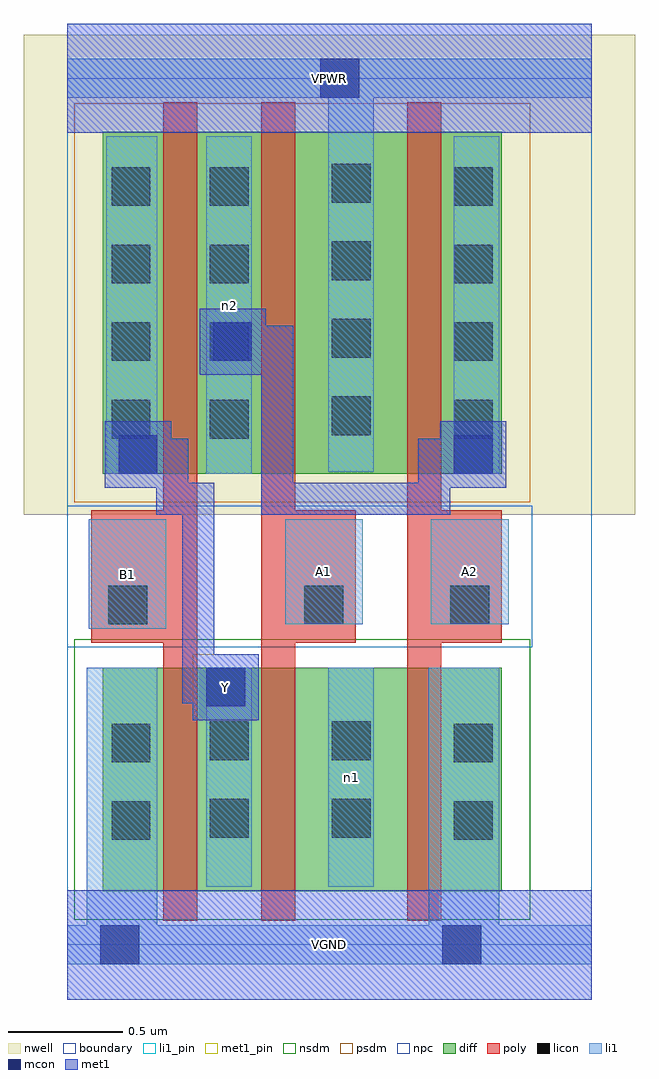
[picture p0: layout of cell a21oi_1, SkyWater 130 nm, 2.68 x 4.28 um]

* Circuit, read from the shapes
.subckt a21oi_1 A1 A2 B1 VGND VPWR Y n1 n2
XM1 Y B1 VGND VSUBS sky130_fd_pr__nfet_01v8 w=0.98 l=0.15
XM2 n1 A1 Y VSUBS sky130_fd_pr__nfet_01v8 w=0.98 l=0.15
XM3 VGND A2 n1 VSUBS sky130_fd_pr__nfet_01v8 w=0.98 l=0.15
XM4 n2 B1 Y n3 sky130_fd_pr__pfet_01v8 w=1.5 l=0.15
XM5 VPWR A1 n2 n3 sky130_fd_pr__pfet_01v8 w=1.5 l=0.15
XM6 n2 A2 VPWR n3 sky130_fd_pr__pfet_01v8 w=1.5 l=0.15
.ends

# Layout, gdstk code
import gdstk
lib = gdstk.Library(unit=1e-6, precision=1e-09)
def R(c, l, rs):  # rectangles x0, y0, x1, y1
    for r in rs: c.add(gdstk.rectangle(r[:2], r[2:], *l))
def A(c, l, x, y, w, h, nx, ny, dx, dy):  # array of equal rectangles
    R(c, l, [(x+i*dx, y+j*dy, x+i*dx+w, y+j*dy+h) for i in range(nx) for j in range(ny)])
nwell = (64, 20)
diff = (65, 20)
poly = (66, 20)
licon = (66, 44)
li1_pin = (67, 16)
li1 = (67, 20)
mcon = (67, 44)
met1_pin = (68, 16)
met1 = (68, 20)
nsdm = (93, 44)
psdm = (94, 20)
npc = (95, 20)
boundary = (235, 4)

a21oi_1 = lib.new_cell('a21oi_1')
R(a21oi_1, nwell, [(-0.19,1.885,2.49,3.99), (0,1.885,2.3,3.99)])
R(a21oi_1, diff, [(0.155,0.235,1.905,1.215), (0.155,2.065,1.905,3.565)])
R(a21oi_1, poly, [(0.42,0.105,0.57,3.695), (0.85,0.105,1,3.695), (1.49,0.105,1.64,3.695), (0.105,1.325,0.57,1.905), (0.85,1.325,1.265,1.905), (1.49,1.325,1.905,1.905)])
A(a21oi_1, licon, 0.195, 2.22, 0.17, 0.17, 1, 4, 0, 0.34)
A(a21oi_1, licon, 0.625, 2.22, 0.17, 0.17, 1, 4, 0, 0.34)
A(a21oi_1, licon, 1.695, 2.22, 0.17, 0.17, 1, 4, 0, 0.34)
A(a21oi_1, licon, 1.16, 2.235, 0.17, 0.17, 1, 4, 0, 0.34)
R(a21oi_1, licon, [(0.195,0.46,0.365,0.63), (1.695,0.46,1.865,0.63), (0.625,0.47,0.795,0.64), (1.16,0.47,1.33,0.64), (0.195,0.8,0.365,0.97), (1.695,0.8,1.865,0.97), (0.625,0.81,0.795,0.98), (1.16,0.81,1.33,0.98), (0.18,1.405,0.35,1.575), (1.04,1.405,1.21,1.575), (1.68,1.405,1.85,1.575)])
R(a21oi_1, li1_pin, [(0.095,1.385,0.435,1.865), (0.955,1.405,1.295,1.865), (1.595,1.405,1.935,1.865)])
R(a21oi_1, li1, [(0,-0.085,2.3,0.085), (0.085,-0.085,0.395,1.215), (1.585,-0.085,1.895,1.215), (0.61,0.255,0.81,1.215), (1.145,0.255,1.345,1.215), (0.095,1.385,0.435,1.865), (0.955,1.405,1.295,1.865), (1.595,1.405,1.935,1.865), (0.17,2.065,0.395,3.545), (0.61,2.065,0.81,3.545), (1.695,2.065,1.895,3.545), (1.145,2.075,1.345,3.885), (0,3.715,2.3,3.885)])
R(a21oi_1, mcon, [(0.145,-0.085,0.315,0.085), (1.645,-0.085,1.815,0.085), (0.61,1.045,0.78,1.215), (0.225,2.065,0.395,2.235), (1.695,2.065,1.865,2.235), (0.64,2.56,0.81,2.73), (1.11,3.715,1.28,3.885)])
R(a21oi_1, met1_pin, [(0,-0.24,2.3,0.24), (0.55,0.985,0.84,1.275), (0,3.56,2.3,4.04)])
R(a21oi_1, met1, [(0,-0.24,2.3,0.24), (0.55,0.985,0.84,1.275), (0.505,1.06,0.765,1.2), (0.505,1.06,0.645,1.335), (0.505,1.195,0.645,2.025), (0.39,1.885,0.53,2.22), (0.39,1.885,0.645,2.025), (0.85,1.885,0.99,2.715), (0.85,1.885,1.68,2.025), (1.54,1.885,1.68,2.22), (0.165,2.005,0.455,2.295), (1.635,2.005,1.925,2.295), (0.24,2.08,0.53,2.22), (1.54,2.08,1.85,2.22), (0.58,2.5,0.87,2.79), (0.655,2.575,0.99,2.715), (0,3.56,2.3,4.04)])
R(a21oi_1, nsdm, [(0.03,0.11,2.03,1.34)])
R(a21oi_1, psdm, [(0.03,1.94,2.03,3.69)])
R(a21oi_1, npc, [(0,1.305,2.04,1.925)])
R(a21oi_1, boundary, [(0,0,2.3,3.8)])
a21oi_1.add(gdstk.Label('A1', (1.125,1.635), layer=67, texttype=5))
a21oi_1.add(gdstk.Label('A2', (1.765,1.635), layer=67, texttype=5))
a21oi_1.add(gdstk.Label('B1', (0.265,1.625), layer=67, texttype=5))
a21oi_1.add(gdstk.Label('n2', (0.71,2.805), layer=67, texttype=5))
a21oi_1.add(gdstk.Label('n1', (1.245,0.735), layer=67, texttype=5))
a21oi_1.add(gdstk.Label('Y', (0.695,1.13), layer=68, texttype=5))
a21oi_1.add(gdstk.Label('VPWR', (1.15,3.8), layer=68, texttype=5))
a21oi_1.add(gdstk.Label('VGND', (1.15,0), layer=68, texttype=5))
a21oi_1.add(gdstk.Label('A1', (1.125,1.635), layer=67, texttype=16))
a21oi_1.add(gdstk.Label('A2', (1.765,1.635), layer=67, texttype=16))
a21oi_1.add(gdstk.Label('B1', (0.265,1.625), layer=67, texttype=16))
a21oi_1.add(gdstk.Label('Y', (0.695,1.13), layer=68, texttype=16))
a21oi_1.add(gdstk.Label('VPWR', (1.15,3.8), layer=68, texttype=16))
a21oi_1.add(gdstk.Label('VGND', (1.15,0), layer=68, texttype=16))

lib.write_gds('a21oi_1.gds')
